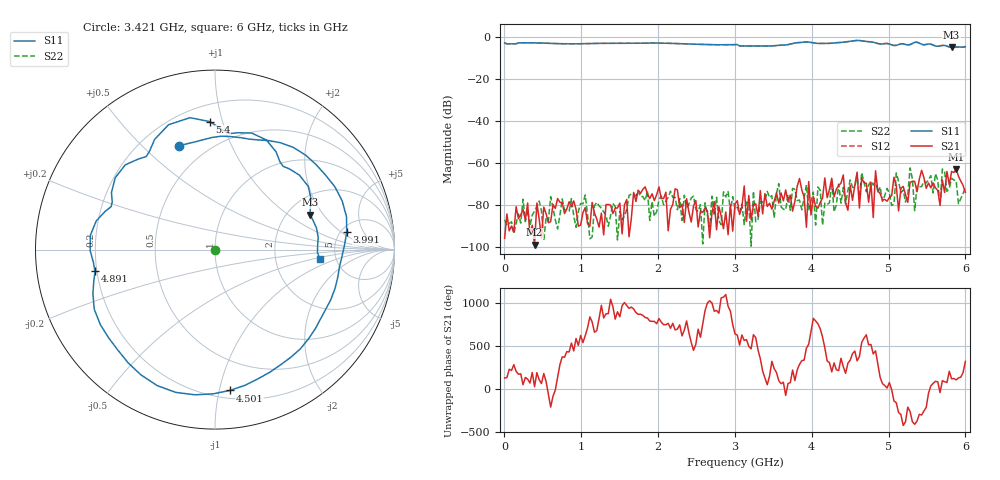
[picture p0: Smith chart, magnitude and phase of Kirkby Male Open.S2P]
! C:\data\cal kit\Siglent Cal Kit\Kirkby Male Open.S2P
! Touchstone 1.1 file saved by VNA.EXE V1.60 (www.ke5fx.com/gpib/readme.htm)
! 26/07/2019 10:51:52 a.m.
!  Source: HEWLETT PACKARD,8753C,0,4.12
!  Min freq: 3.000000E+006 Hz
!  Max freq: 6.000000E+009 Hz
!  Points: 201
!  Params: S11 S21 S12 S22
# GHZ S DB R 50
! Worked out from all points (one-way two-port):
!   201 points, 3 MHz to 6 GHz, reference 50 ohm
!   highest |S21| = -62.93 dB at 5.88 GHz (marker M1); lowest = -99.0 dB at 392.8 MHz (marker M2)
!   lowest |S11| = -5.0 dB at 5.82 GHz (marker M3), VSWR 3.59, Z = 131 + j75.1 ohm
!   |S11| at or under -10 dB: nowhere
!   |S22| runs from -99.7 to -62.4 dB; largest |S21 - S12| = 0.82
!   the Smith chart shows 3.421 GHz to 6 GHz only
!   S11 on the Smith chart (normalised r, x): 3.421 GHz: 0.35, +0.65; 3.991 GHz: 5.65, +2.40; 4.501 GHz: 0.26, -1.08; 4.891 GHz: 0.19, -0.09; 5.4 GHz: 0.31, +0.91; 6 GHz: 3.72, -0.59
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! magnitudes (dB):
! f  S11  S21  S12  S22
! 3 MHz  -2.9  -96.0  -2.9  -87.1
! 392.8 MHz  -2.8  -99.0  -2.8  -83.0
! 1.022 GHz  -3.2  -83.7  -3.2  -79.5
! 2.012 GHz  -2.9  -71.4  -2.9  -77.7
! 3.002 GHz  -3.7  -79.7  -3.7  -81.9
! 3.421 GHz  -4.3  -80.8  -4.3  -73.6
! 3.841 GHz  -2.7  -67.5  -2.7  -77.7
! 3.991 GHz  -2.6  -84.8  -2.6  -78.2
! 4.021 GHz  -2.8  -76.1  -2.8  -74.0
! 4.411 GHz  -2.5  -65.8  -2.6  -71.7
! 4.441 GHz  -2.4  -79.1  -2.4  -79.4
! 4.501 GHz  -2.1  -70.6  -2.1  -68.1
! 4.831 GHz  -2.8  -63.8  -2.8  -67.5
! 4.891 GHz  -3.4  -74.6  -3.4  -71.5
! 5.01 GHz  -3.3  -76.5  -3.4  -74.5
! 5.4 GHz  -2.9  -67.8  -2.9  -71.3
! 5.61 GHz  -4.3  -71.9  -4.3  -65.2
! 5.67 GHz  -4.3  -80.0  -4.3  -80.6
! 5.7 GHz  -4.1  -68.2  -4.0  -62.9
! 5.82 GHz  -5.0  -64.1  -5.0  -67.3
! 5.88 GHz  -4.8  -62.9  -4.8  -68.5
! 6 GHz  -4.7  -74.1  -4.7  -71.8
